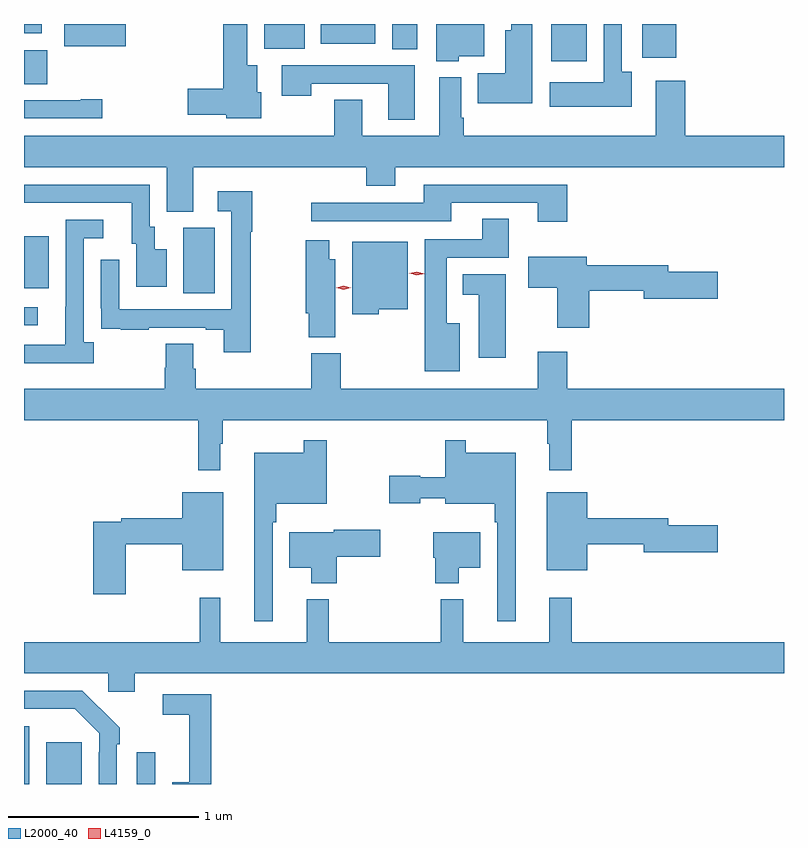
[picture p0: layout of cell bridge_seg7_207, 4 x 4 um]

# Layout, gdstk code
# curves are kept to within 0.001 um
import gdstk
lib = gdstk.Library(unit=1e-6, precision=1e-09)
def R(c, l, rs):  # rectangles x0, y0, x1, y1
    for r in rs: c.add(gdstk.rectangle(r[:2], r[2:], *l))
def P(c, l, *ps):  # polygons
    for p in ps: c.add(gdstk.Polygon(p, *l))
L2000_40 = (2000, 40)
L4159_0 = (4159, 0)

bridge_seg7_207 = lib.new_cell('bridge_seg7_207')
R(bridge_seg7_207, L2000_40, [(160.083,1008.025,160.11,1008.33), (160.199,1008.025,160.387,1008.244), (160.677,1008.025,160.773,1008.193), (160.083,1010.439,160.156,1010.535), (160.922,1010.608,161.086,1010.952), (160.083,1010.633,160.213,1010.908), (160.083,1011.709,160.205,1011.888), (162.857,1011.83,163.045,1012.025), (163.337,1011.848,163.516,1012.025), (162.02,1011.892,162.154,1012.025), (161.348,1011.896,161.56,1012.025), (160.296,1011.908,160.618,1012.025), (161.645,1011.92,161.932,1012.025), (160.083,1011.977,160.177,1012.025)])
P(bridge_seg7_207, L2000_40, [(162.757,1012.025),(162.647,1012.025),(162.647,1011.991),(162.617,1011.991),(162.617,1011.766),(162.47,1011.766),(162.47,1011.608),(162.757,1011.608)],
  [(161.332,1011.666),(161.311,1011.666),(161.311,1011.808),(161.257,1011.808),(161.257,1012.025),(161.132,1012.025),(161.132,1011.683),(160.944,1011.683),(160.944,1011.548),(161.148,1011.548),(161.148,1011.53),(161.332,1011.53)],
  [(162.372,1011.854),(162.505,1011.854),(162.505,1012.025),(162.254,1012.025),(162.254,1011.83),(162.372,1011.83)],
  [(163.282,1011.774),(163.23,1011.774),(163.23,1012.025),(163.134,1012.025),(163.134,1011.718),(162.849,1011.718),(162.849,1011.59),(163.282,1011.59)],
  [(162.139,1011.807),(161.439,1011.807),(161.439,1011.648),(161.595,1011.648),(161.595,1011.711),(161.999,1011.711),(161.999,1011.522),(162.139,1011.522)],
  [(160.975,1011.272),(161.885,1011.272),(161.885,1011.173),(162.037,1011.173),(162.037,1011.272),(164.083,1011.272),(164.083,1011.436),(163.562,1011.436),(163.562,1011.727),(163.409,1011.727),(163.409,1011.436),(162.398,1011.436),(162.398,1011.532),(162.385,1011.532),(162.385,1011.745),(162.269,1011.745),(162.269,1011.436),(161.863,1011.436),(161.863,1011.626),(161.716,1011.626),(161.716,1011.436),(160.083,1011.436),(160.083,1011.272),(160.835,1011.272),(160.835,1011.037),(160.975,1011.037)],
  [(160.495,1011.629),(160.382,1011.629),(160.382,1011.624),(160.083,1011.624),(160.083,1011.528),(160.495,1011.528)],
  [(162.941,1011.18),(162.188,1011.18),(162.188,1011.084),(161.595,1011.084),(161.595,1010.988),(162.331,1010.988),(162.331,1011.084),(162.788,1011.084),(162.788,1010.985),(162.941,1010.985)],
  [(160.834,1010.839),(160.771,1010.839),(160.771,1010.958),(160.746,1010.958),(160.746,1011.18),(160.083,1011.18),(160.083,1011.084),(160.649,1011.084),(160.649,1010.868),(160.673,1010.868),(160.673,1010.643),(160.834,1010.643)],
  [(161.276,1010.932),(161.284,1010.932),(161.284,1011.145),(161.103,1011.145),(161.103,1011.039),(161.175,1011.039),(161.175,1010.523),(160.584,1010.523),(160.584,1010.785),(160.488,1010.785),(160.488,1010.53),(160.489,1010.53),(160.489,1010.421),(160.591,1010.421),(160.591,1010.415),(160.739,1010.415),(160.739,1010.427),(161.039,1010.427),(161.039,1010.415),(161.135,1010.415),(161.135,1010.298),(161.276,1010.298)],
  [(162.376,1010.449),(162.307,1010.449),(162.307,1010.796),(162.634,1010.796),(162.634,1010.999),(162.494,1010.999),(162.494,1010.892),(162.191,1010.892),(162.191,1010.198),(162.376,1010.198)],
  [(160.45,1010.35),(160.398,1010.35),(160.398,1010.898),(160.501,1010.898),(160.501,1010.994),(160.302,1010.994),(160.302,1010.537),(160.301,1010.537),(160.301,1010.337),(160.083,1010.337),(160.083,1010.24),(160.45,1010.24)],
  [(161.722,1010.788),(161.689,1010.788),(161.689,1010.887),(161.567,1010.887),(161.567,1010.502),(161.581,1010.502),(161.581,1010.377),(161.722,1010.377)],
  [(161.949,1010.525),(162.103,1010.525),(162.103,1010.878),(161.81,1010.878),(161.81,1010.498),(161.949,1010.498)],
  [(163.058,1010.62),(163.346,1010.62),(163.346,1010.578),(163.735,1010.578),(163.735,1010.72),(163.474,1010.72),(163.474,1010.756),(163.045,1010.756),(163.045,1010.8),(162.738,1010.8),(162.738,1010.638),(162.89,1010.638),(162.89,1010.427),(163.058,1010.427)],
  [(162.619,1010.707),(162.392,1010.707),(162.392,1010.6),(162.476,1010.6),(162.476,1010.268),(162.619,1010.268)],
  [(161.116,1009.817),(161.128,1009.817),(161.128,1009.94),(162.837,1009.94),(162.837,1009.817),(162.848,1009.817),(162.848,1009.677),(162.965,1009.677),(162.965,1009.94),(164.083,1009.94),(164.083,1010.104),(162.941,1010.104),(162.941,1010.299),(162.788,1010.299),(162.788,1010.104),(161.751,1010.104),(161.751,1010.292),(161.596,1010.292),(161.596,1010.104),(160.988,1010.104),(160.988,1010.21),(160.975,1010.21),(160.975,1010.342),(160.828,1010.342),(160.828,1010.217),(160.823,1010.217),(160.823,1010.104),(160.083,1010.104),(160.083,1009.94),(160.999,1009.94),(160.999,1009.677),(161.116,1009.677)],
  [(162.67,1009.768),(162.409,1009.768),(162.409,1009.834),(162.299,1009.834),(162.299,1009.639),(162.168,1009.639),(162.168,1009.647),(162.006,1009.647),(162.006,1009.502),(162.168,1009.502),(162.168,1009.529),(162.299,1009.529),(162.299,1009.499),(162.561,1009.499),(162.561,1009.403),(162.573,1009.403),(162.573,1008.882),(162.67,1008.882)],
  [(161.391,1009.403),(161.411,1009.403),(161.411,1009.499),(161.677,1009.499),(161.677,1009.834),(161.556,1009.834),(161.556,1009.768),(161.294,1009.768),(161.294,1008.882),(161.391,1008.882)],
  [(163.048,1009.288),(163.346,1009.288),(163.346,1009.246),(163.735,1009.246),(163.735,1009.388),(163.474,1009.388),(163.474,1009.424),(163.048,1009.424),(163.048,1009.561),(162.833,1009.561),(162.833,1009.151),(163.048,1009.151)],
  [(160.618,1009.288),(160.916,1009.288),(160.916,1009.151),(161.131,1009.151),(161.131,1009.561),(160.916,1009.561),(160.916,1009.424),(160.594,1009.424),(160.594,1009.404),(160.448,1009.404),(160.448,1009.023),(160.618,1009.023)],
  [(161.729,1009.222),(161.959,1009.222),(161.959,1009.364),(161.712,1009.364),(161.712,1009.351),(161.48,1009.351),(161.48,1009.163),(161.594,1009.163),(161.594,1009.082),(161.729,1009.082)],
  [(162.37,1009.163),(162.484,1009.163),(162.484,1009.351),(162.236,1009.351),(162.236,1009.215),(162.248,1009.215),(162.248,1009.082),(162.37,1009.082)],
  [(160.666,1008.608),(164.083,1008.608),(164.083,1008.772),(162.965,1008.772),(162.965,1009.006),(162.848,1009.006),(162.848,1008.772),(162.395,1008.772),(162.395,1008.997),(162.277,1008.997),(162.277,1008.772),(161.687,1008.772),(161.687,1008.997),(161.57,1008.997),(161.57,1008.772),(161.117,1008.772),(161.117,1009.006),(161.007,1009.006),(161.007,1008.772),(160.083,1008.772),(160.083,1008.608),(160.527,1008.608),(160.527,1008.51),(160.666,1008.51)],
  [(160.572,1008.233),(160.587,1008.233),(160.587,1008.321),(160.39,1008.516),(160.083,1008.516),(160.083,1008.42),(160.351,1008.42),(160.479,1008.291),(160.479,1008.191),(160.476,1008.191),(160.476,1008.025),(160.572,1008.025)],
  [(161.069,1008.498),(160.812,1008.498),(160.812,1008.39),(160.952,1008.39),(160.952,1008.034),(160.862,1008.034),(160.862,1008.025),(161.069,1008.025)])
P(bridge_seg7_207, L4159_0, [(162.15,1010.702),(162.11,1010.712),(162.11,1010.712),(162.11,1010.712),(162.15,1010.722),(162.191,1010.711),(162.191,1010.711),(162.191,1010.711)],
  [(161.765,1010.627),(161.727,1010.636),(161.726,1010.636),(161.727,1010.636),(161.765,1010.647),(161.803,1010.638),(161.804,1010.638),(161.803,1010.638)])

lib.write_gds('bridge_seg7_207.gds')
